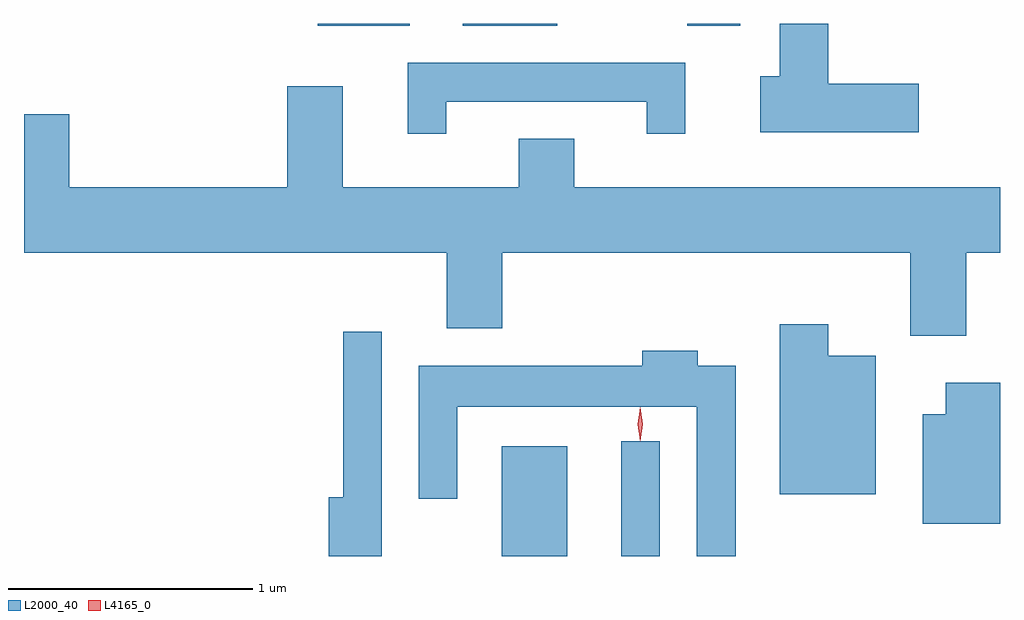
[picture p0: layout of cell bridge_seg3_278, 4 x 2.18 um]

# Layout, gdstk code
import gdstk
lib = gdstk.Library(unit=1e-6, precision=1e-09)
def R(c, l, rs):  # rectangles x0, y0, x1, y1
    for r in rs: c.add(gdstk.rectangle(r[:2], r[2:], *l))
def P(c, l, *ps):  # polygons
    for p in ps: c.add(gdstk.Polygon(p, *l))
L2000_40 = (2000, 40)
L4165_0 = (4165, 0)

bridge_seg3_278 = lib.new_cell('bridge_seg3_278')
R(bridge_seg3_278, L2000_40, [(1016.316,1115.892,1016.584,1116.344), (1016.806,1115.892,1016.964,1116.363), (1015.561,1118.066,1015.939,1118.075), (1016.156,1118.066,1016.544,1118.075), (1017.076,1118.066,1017.294,1118.075)])
P(bridge_seg3_278, L2000_40, [(1018.024,1117.829),(1017.654,1117.829),(1017.654,1118.075),(1017.456,1118.075),(1017.456,1117.859),(1017.376,1117.859),(1017.376,1117.631),(1018.024,1117.631)],
  [(1016.089,1117.756),(1016.911,1117.756),(1016.911,1117.623),(1017.069,1117.623),(1017.069,1117.914),(1015.931,1117.914),(1015.931,1117.623),(1016.089,1117.623)],
  [(1016.614,1117.604),(1016.386,1117.604),(1016.386,1117.404),(1015.664,1117.404),(1015.664,1117.819),(1015.436,1117.819),(1015.436,1117.404),(1014.544,1117.404),(1014.544,1117.704),(1014.358,1117.704),(1014.358,1117.136),(1016.091,1117.136),(1016.091,1116.826),(1016.319,1116.826),(1016.319,1117.136),(1017.991,1117.136),(1017.991,1116.796),(1018.219,1116.796),(1018.219,1117.136),(1018.358,1117.136),(1018.358,1117.404),(1016.614,1117.404)],
  [(1017.849,1116.714),(1017.654,1116.714),(1017.654,1116.844),(1017.456,1116.844),(1017.456,1116.146),(1017.849,1116.146)],
  [(1015.824,1116.813),(1015.666,1116.813),(1015.666,1116.134),(1015.606,1116.134),(1015.606,1115.892),(1015.824,1115.892)],
  [(1017.274,1116.674),(1017.119,1116.674),(1017.119,1116.734),(1016.891,1116.734),(1016.891,1116.674),(1015.976,1116.674),(1015.976,1116.128),(1016.134,1116.128),(1016.134,1116.506),(1017.116,1116.506),(1017.116,1115.892),(1017.274,1115.892)],
  [(1018.358,1116.604),(1018.136,1116.604),(1018.136,1116.474),(1018.041,1116.474),(1018.041,1116.026),(1018.358,1116.026)])
P(bridge_seg3_278, L4165_0, [(1016.883,1116.363),(1016.883,1116.364),(1016.873,1116.433),(1016.883,1116.502),(1016.883,1116.503),(1016.884,1116.502),(1016.893,1116.433),(1016.884,1116.364)])

lib.write_gds('bridge_seg3_278.gds')
